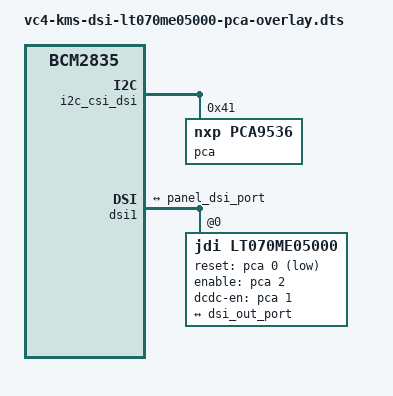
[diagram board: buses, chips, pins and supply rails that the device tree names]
// Raspberry Pi JDI LT070ME05000 DTS
// LCD control pins via pca9536 at i2c_csi_dsi

/dts-v1/;
/plugin/;

/ {
	compatible = "brcm,bcm2835";  

	fragment@0 {
		target = <&i2c_csi_dsi>;
		__overlay__ {
			#address-cells = <1>;
			#size-cells = <0>;
			status = "okay";

			pca: pca@41 {
				compatible = "nxp,pca9536";
				reg = <0x41>;
				gpio-controller;
				#gpio-cells = <2>;
				status = "okay";
			};
		};
	};

	fragment@1 {
		target = <&dsi1>;
		__overlay__{
			status = "okay";
			#address-cells = <1>;
			#size-cells = <0>;
			port {
				dsi_out_port:endpoint {
					remote-endpoint = <&panel_dsi_port>;
				};
			};

			lt070me05000:lt070me05000@0 {
				compatible    = "jdi,lt070me05000";
				status        = "okay";
				reg           = <0>;
				reset-gpios   = <&pca 0 1>;
				enable-gpios  = <&pca 2 0>;
				dcdc-en-gpios = <&pca 1 0>;
				port {
					panel_dsi_port: endpoint {
						remote-endpoint = <&dsi_out_port>;
					};
				};
			};
		};
	};
};
